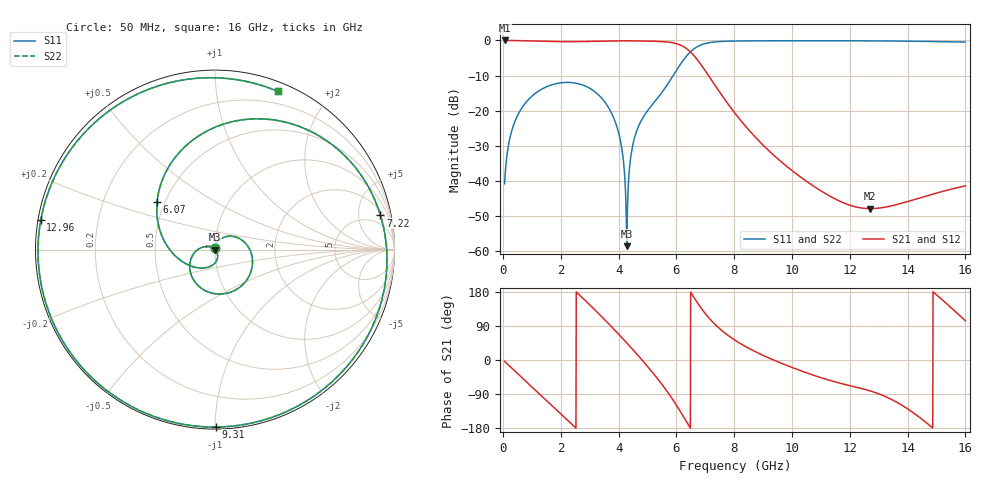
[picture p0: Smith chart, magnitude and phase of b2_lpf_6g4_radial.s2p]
! kicad2ems mom25d 2.5D MoM (lpf)
! ports: 1=P1, 2=P2
# Hz S RI R 50
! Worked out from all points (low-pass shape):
!   1596 points, 50 MHz to 16 GHz, reference 50 ohm
!   highest |S21| = 0.00 dB at 50 MHz (marker M1); lowest = -47.9 dB at 12.71 GHz (marker M2)
!   |S21| within 3 dB of the highest: start of sweep to 6.448 GHz
!   lowest |S11| = -58.6 dB at 4.28 GHz (marker M3), VSWR 1.00, Z = 49.9 - j0.101 ohm
!   |S11| at or under -10 dB: start of sweep to 5.884 GHz
!   |S22| runs from -58.5 to -0.1 dB; largest |S21 - S12| = 0
!   S11 on the Smith chart (normalised r, x): 50 MHz: 1.00, +0.02; 6.07 GHz: 0.45, +0.29; 7.22 GHz: 2.69, +9.01; 9.31 GHz: 0.01, -1.01; 12.96 GHz: 0.01, +0.08; 16 GHz: 0.08, +1.47
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5e7  0.000944 0.00908  0.9975 -0.063  0.9975 -0.063  0.000944 0.00908
4.4e8  0.0405 0.0642  0.8477 -0.5219  0.8477 -0.5219  0.0405 0.0642
1.32e9  0.2003 -0.0159  -0.0738 -0.9724  -0.0738 -0.9724  0.2003 -0.0159
2.08e9  0.1327 -0.2138  -0.8167 -0.5074  -0.8167 -0.5074  0.1327 -0.2138
2.71e9  -0.0538 -0.2289  -0.938 0.2221  -0.938 0.2221  -0.0538 -0.2289
3.85e9  -0.0737 0.012  0.1733 0.9708  0.1733 0.9708  -0.0737 0.012
4.1e9  -0.0266 0.0142  0.4983 0.8527  0.4983 0.8527  -0.0266 0.0142
4.28e9  -0.00061 -0.00101  0.6994 0.697  0.6994 0.697  -0.000611 -0.00101
4.58e9  0.0144 -0.0434  0.9275 0.3319  0.9275 0.3319  0.0144 -0.0434
5.37e9  -0.1234 -0.0948  0.599 -0.762  0.599 -0.762  -0.1234 -0.0948
5.74e9  -0.2551 0.00378  0.00148 -0.9441  0.00148 -0.9441  -0.2551 0.00378
6.07e9  -0.323 0.2632  -0.5421 -0.6936  -0.5421 -0.6936  -0.323 0.2632
6.63e9  0.2552 0.7285  -0.5624 0.1832  -0.5624 0.1832  0.2552 0.7285
7.22e9  0.922 0.1901  -0.06 0.2631  -0.06 0.2631  0.922 0.1901
8.03e9  0.759 -0.6217  0.0564 0.072  0.0564 0.072  0.759 -0.6217
9.31e9  0.00635 -0.9887  0.0244 0.000693  0.0244 0.000693  0.00635 -0.9887
1.069e10  -0.6285 -0.7649  0.00681 -0.00548  0.00681 -0.00548  -0.6285 -0.7649
1.271e10  -0.9848 0.0448  0.000577 -0.004  0.000577 -0.004  -0.9848 0.0448
1.296e10  -0.9709 0.1634  0.000131 -0.00409  0.000131 -0.00409  -0.9709 0.1634
1.335e10  -0.9184 0.3478  -0.000802 -0.00427  -0.000802 -0.00427  -0.9184 0.3478
1.484e10  -0.3511 0.9001  -0.00644 -0.000285  -0.00644 -0.000285  -0.3511 0.9001
1.6e10  0.3491 0.882  -0.00201 0.00828  -0.00201 0.00828  0.3491 0.882
